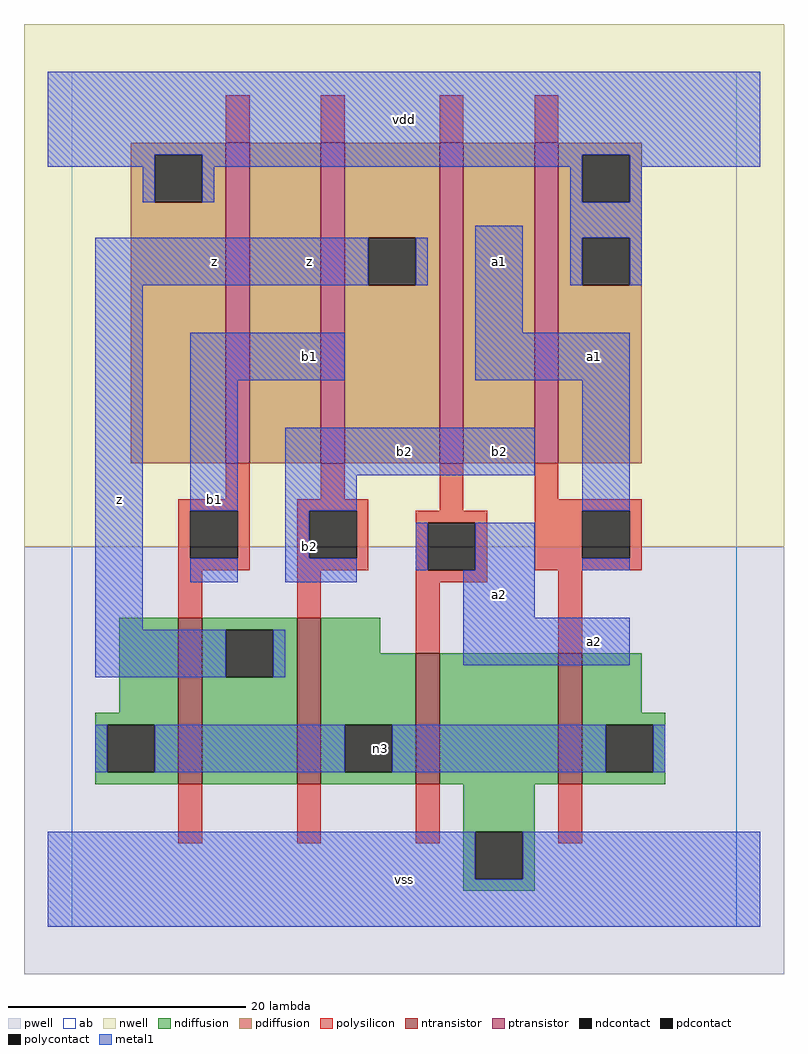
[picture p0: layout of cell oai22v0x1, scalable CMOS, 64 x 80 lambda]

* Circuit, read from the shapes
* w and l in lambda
.subckt oai22v0x1 a1 a2 b1 b2 n3 vdd vss z
M1 z b1 n3 VSUBS nfet w=14 l=2
M2 n3 b2 z VSUBS nfet w=14 l=2
M3 vss a2 n3 VSUBS nfet w=11 l=2
M4 n3 a1 vss VSUBS nfet w=11 l=2
M5 n1 b1 vdd n2 pfet w=27 l=2
M6 z b2 n1 n2 pfet w=27 l=2
M7 n4 a2 z n2 pfet w=27 l=2
M8 vdd a1 n4 n2 pfet w=27 l=2
.ends

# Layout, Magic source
magic
tech scmos
<< ab >>
rect 0 0 56 72
<< pwell >>
rect -4 -4 60 32
<< nwell >>
rect -4 32 60 76
<< polysilicon >>
rect 13 66 15 70
rect 21 66 23 70
rect 31 66 33 70
rect 39 66 41 70
rect 13 36 15 39
rect 21 36 23 39
rect 9 35 15 36
rect 9 31 10 35
rect 14 31 15 35
rect 9 30 15 31
rect 19 35 25 36
rect 31 35 33 39
rect 39 36 41 39
rect 39 35 48 36
rect 19 31 20 35
rect 24 31 25 35
rect 19 30 25 31
rect 29 34 35 35
rect 29 30 30 34
rect 34 30 35 34
rect 39 31 43 35
rect 47 31 48 35
rect 39 30 48 31
rect 9 26 11 30
rect 19 26 21 30
rect 29 29 35 30
rect 29 23 31 29
rect 41 23 43 30
rect 9 7 11 12
rect 19 7 21 12
rect 29 7 31 12
rect 41 7 43 12
<< ndiffusion >>
rect 4 18 9 26
rect 2 17 9 18
rect 2 13 3 17
rect 7 13 9 17
rect 2 12 9 13
rect 11 25 19 26
rect 11 21 13 25
rect 17 21 19 25
rect 11 12 19 21
rect 21 23 26 26
rect 21 17 29 23
rect 21 13 23 17
rect 27 13 29 17
rect 21 12 29 13
rect 31 12 41 23
rect 43 18 48 23
rect 43 17 50 18
rect 43 13 45 17
rect 49 13 50 17
rect 43 12 50 13
rect 33 8 39 12
rect 33 4 34 8
rect 38 4 39 8
rect 33 3 39 4
<< pdiffusion >>
rect 5 65 13 66
rect 5 61 7 65
rect 11 61 13 65
rect 5 39 13 61
rect 15 39 21 66
rect 23 58 31 66
rect 23 54 25 58
rect 29 54 31 58
rect 23 39 31 54
rect 33 39 39 66
rect 41 65 48 66
rect 41 61 43 65
rect 47 61 48 65
rect 41 58 48 61
rect 41 54 43 58
rect 47 54 48 58
rect 41 39 48 54
<< metal1 >>
rect -2 65 58 72
rect -2 64 7 65
rect 6 61 7 64
rect 11 64 43 65
rect 11 61 12 64
rect 42 61 43 64
rect 47 64 58 65
rect 47 61 48 64
rect 2 54 25 58
rect 29 54 30 58
rect 2 25 6 54
rect 34 50 38 59
rect 42 58 48 61
rect 42 54 43 58
rect 47 54 48 58
rect 10 46 23 50
rect 34 46 47 50
rect 10 35 14 46
rect 10 29 14 31
rect 18 38 39 42
rect 18 35 24 38
rect 18 31 20 35
rect 43 35 47 46
rect 18 29 24 31
rect 29 30 30 34
rect 34 30 39 34
rect 43 30 47 31
rect 33 26 39 30
rect 2 21 13 25
rect 17 21 18 25
rect 33 22 47 26
rect 2 13 3 17
rect 7 13 23 17
rect 27 13 45 17
rect 49 13 50 17
rect -2 4 34 8
rect 38 4 58 8
rect -2 0 58 4
<< ntransistor >>
rect 9 12 11 26
rect 19 12 21 26
rect 29 12 31 23
rect 41 12 43 23
<< ptransistor >>
rect 13 39 15 66
rect 21 39 23 66
rect 31 39 33 66
rect 39 39 41 66
<< polycontact >>
rect 10 31 14 35
rect 20 31 24 35
rect 30 30 34 34
rect 43 31 47 35
<< ndcontact >>
rect 3 13 7 17
rect 13 21 17 25
rect 23 13 27 17
rect 45 13 49 17
rect 34 4 38 8
<< pdcontact >>
rect 7 61 11 65
rect 25 54 29 58
rect 43 61 47 65
rect 43 54 47 58
<< labels >>
rlabel metal1 4 36 4 36 6 z
rlabel metal1 20 32 20 32 6 b2
rlabel metal1 12 36 12 36 6 b1
rlabel metal1 20 48 20 48 6 b1
rlabel metal1 20 56 20 56 6 z
rlabel metal1 12 56 12 56 6 z
rlabel metal1 28 4 28 4 6 vss
rlabel metal1 36 28 36 28 6 a2
rlabel metal1 36 40 36 40 6 b2
rlabel metal1 28 40 28 40 6 b2
rlabel metal1 36 56 36 56 6 a1
rlabel metal1 28 68 28 68 6 vdd
rlabel ndcontact 26 15 26 15 6 n3
rlabel metal1 44 24 44 24 6 a2
rlabel metal1 44 48 44 48 6 a1
<< end >>
